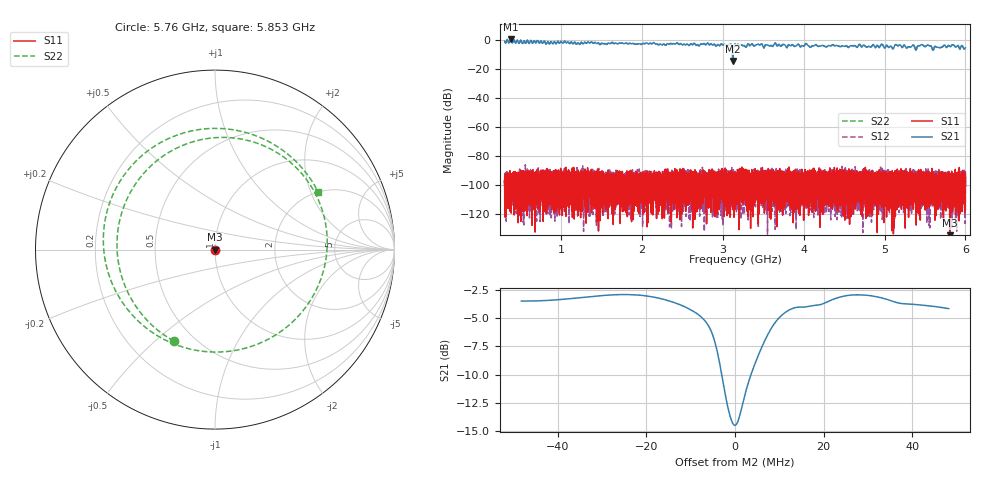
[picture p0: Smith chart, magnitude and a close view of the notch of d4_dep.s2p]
!Agilent Technologies,N5230C,SG49000117,A.08.50.07
!Agilent N5230C: A.08.50.07
!Date: Sunday, March 17, 2024 06:58:30
!Correction: S11(Off)
!S21(Off)
!S12(Off)
!S22(Off)
!S2P File: Measurements: S11, S21, S12, S22:
# Hz S  RI  R 50
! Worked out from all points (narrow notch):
!   20001 points, 300 MHz to 6 GHz, reference 50 ohm
!   highest |S21| = 0.47 dB at 374.1 MHz (marker M1); lowest = -14.5 dB at 3.123 GHz (marker M2)
!   notch at M2: 11.1 dB deep, 8.07 MHz wide at half that depth
!   lowest |S11| = -138.3 dB at 5.806 GHz (marker M3), VSWR 1.00, Z = 50 + j1.2e-05 ohm
!   |S11| at or under -10 dB: start of sweep to end of sweep
!   |S22| runs from -14.5 to 0.5 dB; largest |S21 - S12| = 1.1
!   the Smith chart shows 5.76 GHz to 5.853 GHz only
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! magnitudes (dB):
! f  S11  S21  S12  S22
! 300 MHz  -100.5  -0.9  -97.7  -0.9
! 374.1 MHz  -102.4  0.5  -115.9  0.5
! 1.25 GHz  -97.3  -1.7  -101.6  -1.7
! 2.2 GHz  -108.0  -3.5  -104.7  -3.5
! 3.082 GHz  -100.4  -3.4  -96.4  -3.4
! 3.123 GHz  -97.8  -14.5  -100.8  -14.5
! 3.15 GHz  -105.0  -2.9  -94.3  -2.9
! 3.171 GHz  -91.7  -4.1  -100.0  -4.1
! 3.271 GHz  -91.6  -4.2  -96.0  -4.2
! 3.456 GHz  -106.5  -3.5  -111.1  -3.5
! 3.977 GHz  -106.1  -4.1  -111.3  -4.0
! 4.035 GHz  -98.2  -2.9  -92.9  -2.8
! 4.1 GHz  -94.1  -4.3  -102.9  -4.2
! 5.05 GHz  -94.9  -5.3  -109.7  -5.2
! 5.093 GHz  -102.5  -5.5  -93.6  -5.5
! 5.163 GHz  -98.5  -4.1  -101.9  -4.1
! 5.395 GHz  -98.3  -6.4  -100.2  -6.4
! 5.443 GHz  -101.4  -3.8  -100.6  -3.8
! 5.546 GHz  -102.5  -3.9  -93.6  -3.9
! 5.611 GHz  -95.1  -5.8  -97.9  -5.8
! 5.806 GHz  -138.3  -4.6  -93.6  -4.6
! 6 GHz  -95.0  -5.6  -92.5  -5.6
